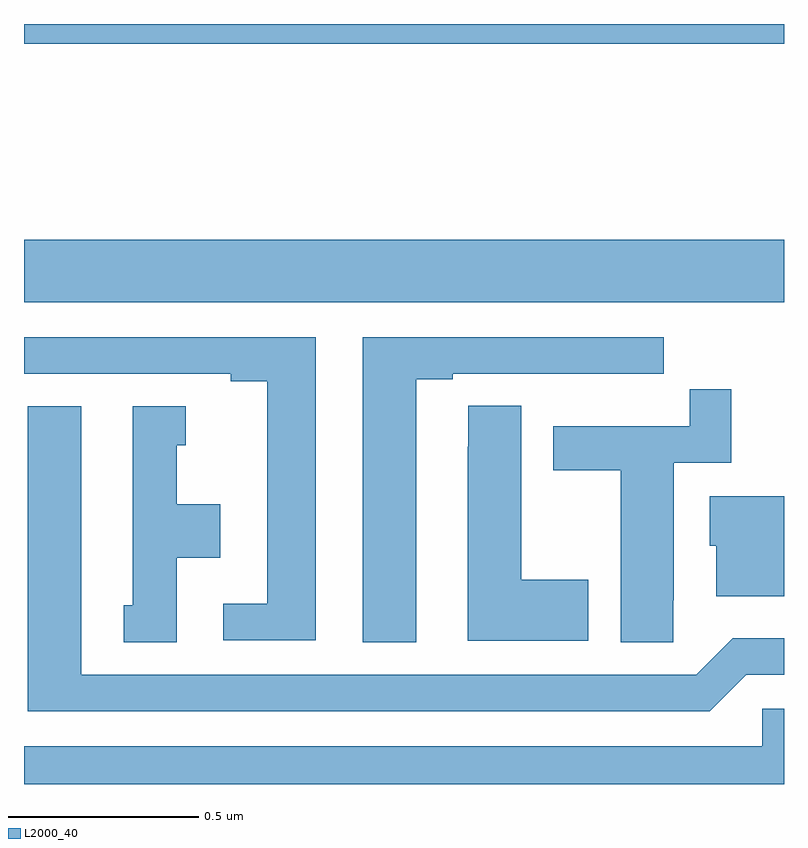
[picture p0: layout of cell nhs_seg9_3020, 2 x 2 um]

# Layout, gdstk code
import gdstk
lib = gdstk.Library(unit=1e-6, precision=1e-09)
def R(c, l, rs):  # rectangles x0, y0, x1, y1
    for r in rs: c.add(gdstk.rectangle(r[:2], r[2:], *l))
def P(c, l, *ps):  # polygons
    for p in ps: c.add(gdstk.Polygon(p, *l))
L2000_40 = (2000, 40)

nhs_seg9_3020 = lib.new_cell('nhs_seg9_3020')
R(nhs_seg9_3020, L2000_40, [(148,1181.768,150,1181.932), (148,1182.448,150,1182.5)])
P(nhs_seg9_3020, L2000_40, [(149.032,1181.565),(149.128,1181.565),(149.128,1181.58),(149.404,1181.58),(149.404,1181.579),(149.57,1181.579),(149.57,1181.58),(149.683,1181.58),(149.683,1181.676),(148.892,1181.676),(148.892,1180.873),(149.032,1180.873)],
  [(148.768,1181.676),(148,1181.676),(148,1181.58),(148.544,1181.58),(148.544,1181.56),(148.64,1181.56),(148.64,1180.974),(148.524,1180.974),(148.524,1180.878),(148.768,1180.878)],
  [(149.709,1180.984),(149.71,1180.984),(149.71,1181.346),(149.861,1181.346),(149.861,1181.539),(149.752,1181.539),(149.752,1181.442),(149.393,1181.442),(149.393,1181.326),(149.57,1181.326),(149.57,1180.873),(149.709,1180.873)],
  [(149.485,1181.037),(149.308,1181.037),(149.308,1181.495),(149.169,1181.495),(149.169,1181.387),(149.168,1181.387),(149.168,1180.877),(149.485,1180.877)],
  [(149.901,1180.788),(150,1180.788),(150,1180.884),(149.865,1180.884),(149.769,1180.788),(148.15,1180.788),(148.15,1181.494),(148.01,1181.494),(148.01,1180.692),(149.805,1180.692)],
  [(148.402,1181.096),(148.516,1181.096),(148.516,1181.236),(148.402,1181.236),(148.402,1181.391),(148.426,1181.391),(148.426,1181.494),(148.286,1181.494),(148.286,1180.971),(148.262,1180.971),(148.262,1180.873),(148.402,1180.873)],
  [(150,1181.257),(149.804,1181.257),(149.804,1181.127),(149.822,1181.127),(149.822,1180.994),(150,1180.994)],
  [(150,1180.698),(149.943,1180.698),(149.943,1180.6),(148,1180.6),(148,1180.5),(150,1180.5)])

lib.write_gds('nhs_seg9_3020.gds')
